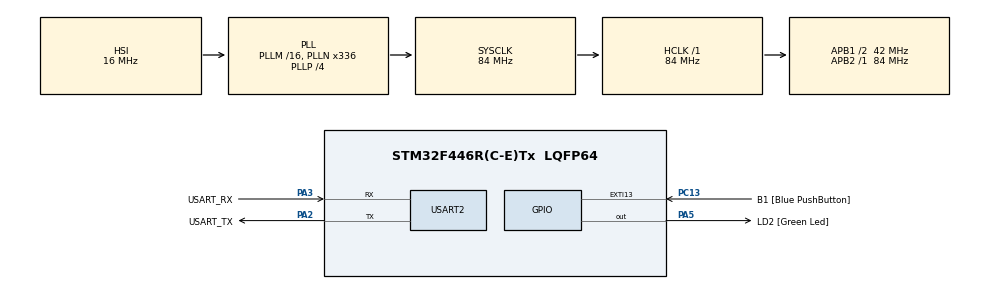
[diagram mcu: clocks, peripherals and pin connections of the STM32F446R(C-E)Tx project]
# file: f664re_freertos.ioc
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FREERTOS.Mutexes01=myMutex01,Dynamic,NULL,Available
FREERTOS.Tasks01=TaskA,0,128,TaskAFunc,Default,NULL,Dynamic,NULL,NULL;TaskB,0,128,TaskBFunc,Default,NULL,Dynamic,NULL,NULL
Mcu.Family=STM32F4
Mcu.Name=STM32F446R(C-E)Tx
Mcu.Package=LQFP64
NVIC.PriorityGroup=NVIC_PRIORITYGROUP_4
NVIC.TIM3_IRQn=true\:15\:0\:false\:false\:true\:false\:false\:true\:true
NVIC.TimeBase=TIM3_IRQn
NVIC.TimeBaseIP=TIM3
PA13.GPIO_Label=TMS
PA13.Mode=Trace_Asynchronous_SW
PA13.Signal=SYS_JTMS-SWDIO
PA14.GPIO_Label=TCK
PA14.Mode=Trace_Asynchronous_SW
PA14.Signal=SYS_JTCK-SWCLK
PA2.GPIO_Label=USART_TX
PA2.Mode=Asynchronous
PA2.Signal=USART2_TX
PA3.GPIO_Label=USART_RX
PA3.Mode=Asynchronous
PA3.Signal=USART2_RX
PA5.GPIO_Label=LD2 [Green Led]
PA5.Signal=GPIO_Output
PB3.GPIO_Label=SWO
PB3.Mode=Trace_Asynchronous_SW
PB3.Signal=SYS_JTDO-SWO
PC13.GPIO_Label=B1 [Blue PushButton]
PC13.GPIO_ModeDefaultEXTI=GPIO_MODE_IT_FALLING
PC13.Signal=GPXTI13
PC14-OSC32_IN.Mode=LSE-External-Oscillator
PC14-OSC32_IN.Signal=RCC_OSC32_IN
PC15-OSC32_OUT.Mode=LSE-External-Oscillator
PC15-OSC32_OUT.Signal=RCC_OSC32_OUT
PH0-OSC_IN.Mode=HSE-External-Oscillator
PH0-OSC_IN.Signal=RCC_OSC_IN
PH1-OSC_OUT.Mode=HSE-External-Oscillator
PH1-OSC_OUT.Signal=RCC_OSC_OUT
ProjectManager.HeapSize=0x200
ProjectManager.StackSize=0x400
ProjectManager.TargetToolchain=CMake
RCC.48MHZClocksFreq_Value=84000000
RCC.AHBFreq_Value=84000000
RCC.APB1CLKDivider=RCC_HCLK_DIV2
RCC.APB1Freq_Value=42000000
RCC.APB1TimFreq_Value=84000000
RCC.APB2Freq_Value=84000000
RCC.APB2TimFreq_Value=84000000
RCC.CortexFreq_Value=84000000
RCC.FLatency-AdvancedSettings=FLASH_LATENCY_2
RCC.HCLKFreq_Value=84000000
RCC.HSE_VALUE=8000000
RCC.HSI_VALUE=16000000
RCC.PLLN=336
RCC.PLLP=RCC_PLLP_DIV4
RCC.SYSCLKFreq_VALUE=84000000
RCC.SYSCLKSource=RCC_SYSCLKSOURCE_PLLCLK
RCC.USBFreq_Value=168000000
RCC.VCOOutputFreq_Value=336000000
USART2.VirtualMode=VM_ASYNC
VP_FREERTOS_VS_CMSIS_V1.Mode=CMSIS_V1
VP_SYS_VS_tim3.Mode=TIM3
board=NUCLEO-F446RE

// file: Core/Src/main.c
/* USER CODE BEGIN Header */
/**
  ******************************************************************************
  * @file           : main.c
  * @brief          : Main program body
  ******************************************************************************
  * @attention
  *
  * Copyright (c) 2026 STMicroelectronics.
  * All rights reserved.
  *
  * This software is licensed under terms that can be found in the LICENSE file
  * in the root directory of this software component.
  * If no LICENSE file comes with this software, it is provided AS-IS.
  *
  ******************************************************************************
  */
/* USER CODE END Header */
#include "main.h"
#include "cmsis_os.h"
#include <stdio.h>

UART_HandleTypeDef huart2;

osThreadId TaskAHandle;
osThreadId TaskBHandle;
osMutexId myMutex01Handle;

void SystemClock_Config(void);
static void MX_GPIO_Init(void);
static void MX_USART2_UART_Init(void);
void TaskAFunc(void const * argument);
void TaskBFunc(void const * argument);

/* USER CODE BEGIN 0 */
#define ARRAY_SIZE 400
uint32_t data_array[ARRAY_SIZE];
int total_sum = 0;
uint8_t taskA_ready = 0;
/* USER CODE END 0 */

int main(void)
{

  /* USER CODE BEGIN 1 */
  for(int i = 0; i < ARRAY_SIZE; i++){
    data_array[i] = i;
  }
  /* USER CODE END 1 */

  /* MCU Configuration--------------------------------------------------------*/

  /* Reset of all peripherals, Initializes the Flash interface and the Systick. */
  HAL_Init();

  /* Configure the system clock */
  SystemClock_Config();

  /* Initialize all configured peripherals */
  MX_GPIO_Init();
  MX_USART2_UART_Init();

  /* Create the mutex(es) */
  /* definition and creation of myMutex01 */
  osMutexDef(myMutex01);
  myMutex01Handle = osMutexCreate(osMutex(myMutex01));

  /* Create the thread(s) */
  /* definition and creation of TaskA */
  osThreadDef(TaskA, TaskAFunc, osPriorityNormal, 0, 128);
  TaskAHandle = osThreadCreate(osThread(TaskA), NULL);

  /* definition and creation of TaskB */
  osThreadDef(TaskB, TaskBFunc, osPriorityNormal, 0, 128);
  TaskBHandle = osThreadCreate(osThread(TaskB), NULL);

  /* Start scheduler */
  osKernelStart();

  /* We should never get here as control is now taken by the scheduler */

  /* Infinite loop */
  while (1)
  {

  }
}

void SystemClock_Config(void)
{
  RCC_OscInitTypeDef RCC_OscInitStruct = {0};
  RCC_ClkInitTypeDef RCC_ClkInitStruct = {0};

  /** Configure the main internal regulator output voltage
  */
  __HAL_RCC_PWR_CLK_ENABLE();
  __HAL_PWR_VOLTAGESCALING_CONFIG(PWR_REGULATOR_VOLTAGE_SCALE3);

  /** Initializes the RCC Oscillators according to the specified parameters
  * in the RCC_OscInitTypeDef structure.
  */
  RCC_OscInitStruct.OscillatorType = RCC_OSCILLATORTYPE_HSI;
  RCC_OscInitStruct.HSIState = RCC_HSI_ON;
  RCC_OscInitStruct.HSICalibrationValue = RCC_HSICALIBRATION_DEFAULT;
  RCC_OscInitStruct.PLL.PLLState = RCC_PLL_ON;
  RCC_OscInitStruct.PLL.PLLSource = RCC_PLLSOURCE_HSI;
  RCC_OscInitStruct.PLL.PLLM = 16;
  RCC_OscInitStruct.PLL.PLLN = 336;
  RCC_OscInitStruct.PLL.PLLP = RCC_PLLP_DIV4;
  RCC_OscInitStruct.PLL.PLLQ = 2;
  RCC_OscInitStruct.PLL.PLLR = 2;
  if (HAL_RCC_OscConfig(&RCC_OscInitStruct) != HAL_OK)
  {
    Error_Handler();
  }

  /** Initializes the CPU, AHB and APB buses clocks
  */
  RCC_ClkInitStruct.ClockType = RCC_CLOCKTYPE_HCLK|RCC_CLOCKTYPE_SYSCLK
                              |RCC_CLOCKTYPE_PCLK1|RCC_CLOCKTYPE_PCLK2;
  RCC_ClkInitStruct.SYSCLKSource = RCC_SYSCLKSOURCE_PLLCLK;
  RCC_ClkInitStruct.AHBCLKDivider = RCC_SYSCLK_DIV1;
  RCC_ClkInitStruct.APB1CLKDivider = RCC_HCLK_DIV2;
  RCC_ClkInitStruct.APB2CLKDivider = RCC_HCLK_DIV1;

  if (HAL_RCC_ClockConfig(&RCC_ClkInitStruct, FLASH_LATENCY_2) != HAL_OK)
  {
    Error_Handler();
  }
}

static void MX_USART2_UART_Init(void)
{

  huart2.Instance = USART2;
  huart2.Init.BaudRate = 115200;
  huart2.Init.WordLength = UART_WORDLENGTH_8B;
  huart2.Init.StopBits = UART_STOPBITS_1;
  huart2.Init.Parity = UART_PARITY_NONE;
  huart2.Init.Mode = UART_MODE_TX_RX;
  huart2.Init.HwFlowCtl = UART_HWCONTROL_NONE;
  huart2.Init.OverSampling = UART_OVERSAMPLING_16;
  if (HAL_UART_Init(&huart2) != HAL_OK)
  {
    Error_Handler();
  }

}

static void MX_GPIO_Init(void)
{
  GPIO_InitTypeDef GPIO_InitStruct = {0};

  /* GPIO Ports Clock Enable */
  __HAL_RCC_GPIOC_CLK_ENABLE();
  __HAL_RCC_GPIOH_CLK_ENABLE();
  __HAL_RCC_GPIOA_CLK_ENABLE();
  __HAL_RCC_GPIOB_CLK_ENABLE();

  /*Configure GPIO pin Output Level */
  HAL_GPIO_WritePin(LD2_GPIO_Port, LD2_Pin, GPIO_PIN_RESET);

  /*Configure GPIO pin : B1_Pin */
  GPIO_InitStruct.Pin = B1_Pin;
  GPIO_InitStruct.Mode = GPIO_MODE_IT_FALLING;
  GPIO_InitStruct.Pull = GPIO_NOPULL;
  HAL_GPIO_Init(B1_GPIO_Port, &GPIO_InitStruct);

  /*Configure GPIO pin : LD2_Pin */
  GPIO_InitStruct.Pin = LD2_Pin;
  GPIO_InitStruct.Mode = GPIO_MODE_OUTPUT_PP;
  GPIO_InitStruct.Pull = GPIO_NOPULL;
  GPIO_InitStruct.Speed = GPIO_SPEED_FREQ_LOW;
  HAL_GPIO_Init(LD2_GPIO_Port, &GPIO_InitStruct);

}

/* USER CODE BEGIN 4 */
int _write(int file, char *ptr, int len)
{
  HAL_UART_Transmit(&huart2, (uint8_t *)ptr, len, 0xFFFFFFFF);
  return len;
}
/* USER CODE END 4 */

void TaskAFunc(void const * argument)
{
  /* USER CODE BEGIN 5 */
  int local_sumA = 0;
  for(int i = 0; i < 200; i++){
    local_sumA += data_array[i];
  }
  if(osMutexWait(myMutex01Handle, osWaitForever) == osOK) {
    total_sum += local_sumA;
    taskA_ready = 1;
    osMutexRelease(myMutex01Handle);
    osThreadYield();
  }

  /* Infinite loop */
  for(;;)
  {

  }
  /* USER CODE END 5 */
}

void TaskBFunc(void const * argument)
{
  /* USER CODE BEGIN TaskBFunc */

  int local_sumB = 0;
  for(int i = 200; i < 400; i++){
    local_sumB += data_array[i];
  }

  /* Infinite loop */
  for(;;)
  {
    if(osMutexWait(myMutex01Handle, osWaitForever) == osOK){
      if(taskA_ready == 1){
        total_sum += local_sumB;
        osMutexRelease(myMutex01Handle);
        break;
      }
    osMutexRelease(myMutex01Handle);
    }
    osDelay(10);
  }

  printf("Total sum: %d\n", total_sum);
  HAL_GPIO_WritePin(LD2_GPIO_Port, LD2_Pin, GPIO_PIN_SET);
  /* USER CODE END TaskBFunc */
}

void HAL_TIM_PeriodElapsedCallback(TIM_HandleTypeDef *htim)
{
  if (htim->Instance == TIM3)
  {
    HAL_IncTick();
  }
}

void Error_Handler(void)
{
  __disable_irq();
  while (1)
  {
  }
}
